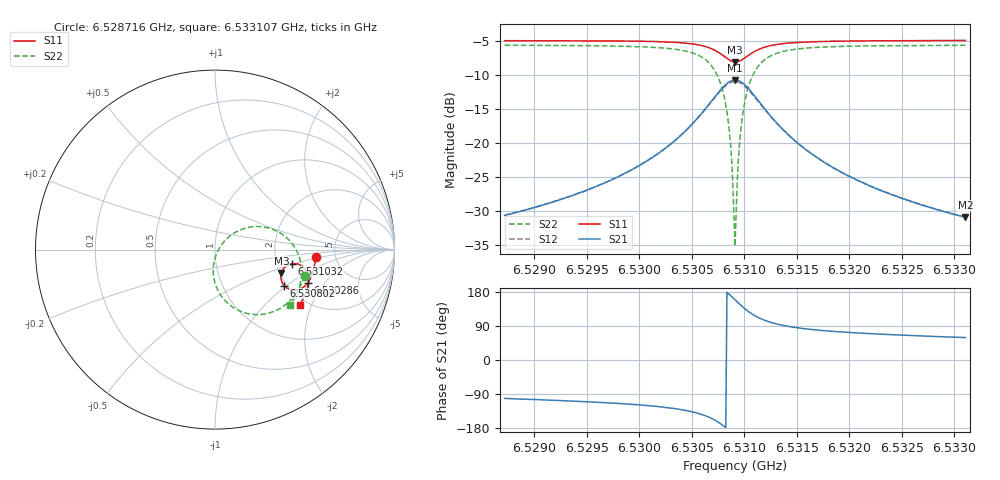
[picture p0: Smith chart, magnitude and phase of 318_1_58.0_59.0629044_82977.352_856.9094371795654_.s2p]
#  HZ  S  RI  R  50.00
! Rohde & Schwarz Vector Network Analyzer
! Rohde-Schwarz,ZNB20-2Port,1311601062101988,3.16
! Created: UTC 3/21/2024, 1:04:28 AM
! freq[Hz]  re:S11  im:S11  re:S21  im:S21  re:S12  im:S12  re:S22  im:S22
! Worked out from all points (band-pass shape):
!   401 points, 6.528716 GHz to 6.533107 GHz, reference 50 ohm
!   highest |S21| = -10.77 dB at 6.530912 GHz (marker M1); lowest = -30.9 dB at 6.533107 GHz (marker M2)
!   |S21| within 3 dB of the highest: 6.530693 GHz to 6.531131 GHz (438.8 kHz wide, 0.00672 % of centre)
!   lowest |S11| = -8.1 dB at 6.530912 GHz (marker M3), VSWR 2.29, Z = 102 - j31.6 ohm
!   |S11| at or under -10 dB: nowhere
!   |S22| runs from -35.1 to -5.7 dB; largest |S21 - S12| = 0.011
!   S11 on the Smith chart (normalised r, x): 6.528716 GHz: 3.50, -0.44; 6.530286 GHz: 2.61, -1.39; 6.530802 GHz: 1.94, -0.96; 6.531032 GHz: 2.43, -0.47; 6.533107 GHz: 1.84, -1.65
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6.5287157e9  0.5601 -0.0426  -0.0058 -0.0288  -0.00641 -0.0287  0.4987 -0.1472
6.5294513e9  0.5512 -0.103  -0.0146 -0.0411  -0.0155 -0.0408  0.47 -0.2142
6.5301869e9  0.5245 -0.1743  -0.0461 -0.0706  -0.0479 -0.0696  0.3938 -0.307
6.5302857e9  0.5169 -0.1859  -0.0567 -0.0778  -0.0591 -0.0761  0.3706 -0.3233
6.5306371e9  0.4539 -0.2255  -0.1533 -0.0961  -0.1556 -0.0901  0.1873 -0.3577
6.5307359e9  0.4149 -0.221  -0.2139 -0.0727  -0.2136 -0.0641  0.0839 -0.3096
6.5308018e9  0.3858 -0.2011  -0.257 -0.0284  -0.2531 -0.0189  0.0169 -0.2279
6.5308567e9  0.3692 -0.1699  -0.2787 0.0321  -0.2711 0.0397  -0.00994 -0.1241
6.5308676e9  0.3675 -0.1624  -0.2799 0.0463  -0.2715 0.0531  -0.0094 -0.1006
6.5308896e9  0.367 -0.1467  -0.2781 0.075  -0.2687 0.0804  -0.00167 -0.0535
6.5309006e9  0.368 -0.1388  -0.2748 0.0894  -0.2653 0.0939  0.00584 -0.0301
6.5309116e9  0.3698 -0.1309  -0.2703 0.1035  -0.2605 0.107  0.0156 -0.0079
6.5309225e9  0.3723 -0.1234  -0.2644 0.1171  -0.2545 0.1198  0.0276 0.0135
6.5309335e9  0.3759 -0.1161  -0.257 0.1298  -0.2474 0.1317  0.0414 0.0334
6.5309555e9  0.3849 -0.1033  -0.2394 0.1528  -0.2302 0.1531  0.074 0.0682
6.5309774e9  0.396 -0.0928  -0.2185 0.1711  -0.21 0.1702  0.1116 0.0951
6.5310323e9  0.4276 -0.0791  -0.1612 0.1964  -0.1554 0.1936  0.2106 0.1272
6.5311092e9  0.4664 -0.0825  -0.0932 0.1943  -0.0902 0.1917  0.325 0.1118
6.531219e9  0.499 -0.105  -0.0359 0.1646  -0.0344 0.1631  0.4179 0.0476
6.5316472e9  0.5209 -0.1809  0.014 0.0815  0.0149 0.0812  0.4823 -0.129
6.5323828e9  0.5009 -0.2534  0.0166 0.039  0.0172 0.0389  0.455 -0.2443
6.5331074e9  0.4731 -0.3066  0.0146 0.0245  0.0151 0.0243  0.4199 -0.3061
